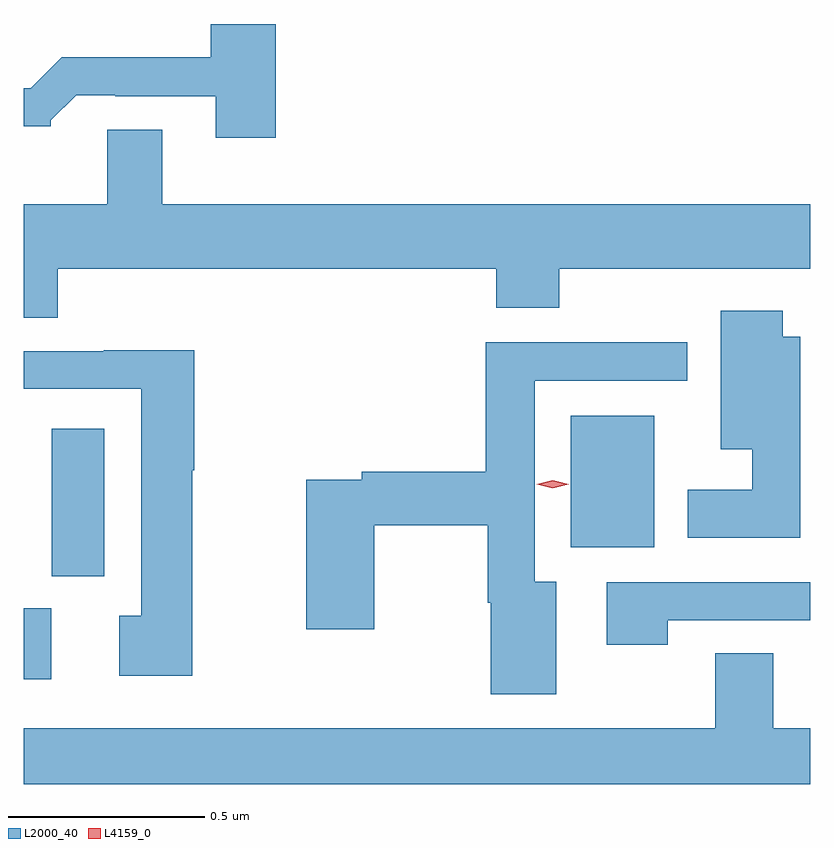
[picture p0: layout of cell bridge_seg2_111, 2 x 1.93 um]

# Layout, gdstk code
import gdstk
lib = gdstk.Library(unit=1e-6, precision=1e-09)
def R(c, l, rs):  # rectangles x0, y0, x1, y1
    for r in rs: c.add(gdstk.rectangle(r[:2], r[2:], *l))
def P(c, l, *ps):  # polygons
    for p in ps: c.add(gdstk.Polygon(p, *l))
L2000_40 = (2000, 40)
L4159_0 = (4159, 0)

bridge_seg2_111 = lib.new_cell('bridge_seg2_111')
R(bridge_seg2_111, L2000_40, [(598.185,638.601,598.255,638.781), (598.256,638.862,598.39,639.238), (599.576,638.936,599.788,639.271)])
P(bridge_seg2_111, L2000_40, [(598.826,640.267),(598.661,640.267),(598.661,640.183),(598.282,640.183),(598.203,640.104),(598.185,640.104),(598.185,640.007),(598.254,640.007),(598.254,640.022),(598.318,640.086),(598.417,640.086),(598.417,640.083),(598.673,640.083),(598.673,639.978),(598.826,639.978)],
  [(598.271,639.644),(599.387,639.644),(599.387,639.545),(599.547,639.545),(599.547,639.644),(600.185,639.644),(600.185,639.808),(598.537,639.808),(598.537,639.998),(598.397,639.998),(598.397,639.808),(598.185,639.808),(598.185,639.52),(598.271,639.52)],
  [(600.16,639.472),(600.115,639.472),(600.115,639.538),(599.957,639.538),(599.957,639.185),(600.038,639.185),(600.038,639.082),(599.873,639.082),(599.873,638.96),(600.16,638.96)],
  [(599.539,638.848),(599.485,638.848),(599.485,639.36),(599.872,639.36),(599.872,639.458),(599.36,639.458),(599.36,639.128),(599.044,639.128),(599.044,639.108),(598.903,639.108),(598.903,638.727),(599.076,638.727),(599.076,638.992),(599.365,638.992),(599.365,638.795),(599.372,638.795),(599.372,638.562),(599.539,638.562)],
  [(598.614,639.132),(598.619,639.132),(598.619,639.437),(598.388,639.437),(598.388,639.435),(598.185,639.435),(598.185,639.339),(598.484,639.339),(598.484,638.762),(598.428,638.762),(598.428,638.609),(598.614,638.609)],
  [(599.823,638.751),(600.185,638.751),(600.185,638.847),(599.667,638.847),(599.667,638.688),(599.823,638.688)],
  [(600.185,638.476),(600.091,638.476),(600.091,638.666),(599.944,638.666),(599.944,638.476),(598.185,638.476),(598.185,638.334),(600.185,638.334)])
P(bridge_seg2_111, L4159_0, [(599.53,639.086),(599.489,639.096),(599.489,639.096),(599.489,639.097),(599.53,639.106),(599.571,639.097),(599.571,639.096),(599.571,639.096)])

lib.write_gds('bridge_seg2_111.gds')
